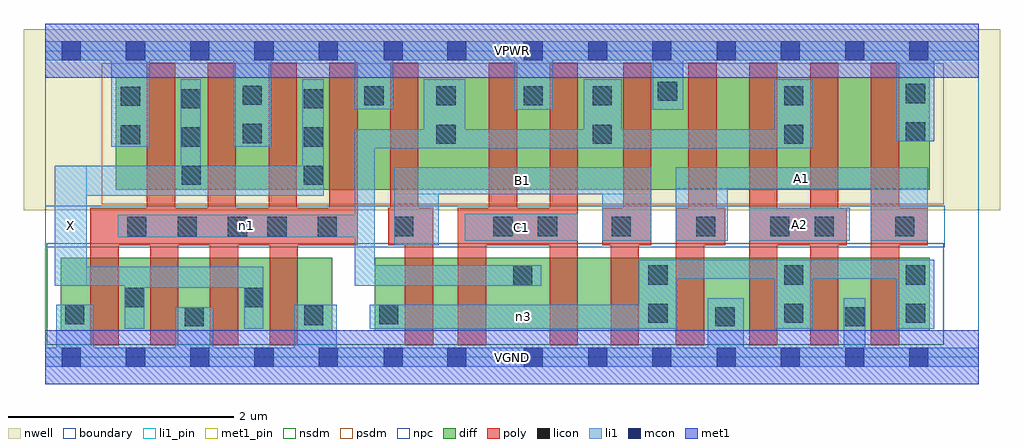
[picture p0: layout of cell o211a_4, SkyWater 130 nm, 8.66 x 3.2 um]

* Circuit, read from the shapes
.subckt o211a_4 A1 A2 B1 C1 VGND VPWR X n1 n3
XM1 X n1 VGND VSUBS sky130_fd_pr__nfet_01v8 w=0.65 l=0.25 m=4
XM2 n2 B1 n3 VSUBS sky130_fd_pr__nfet_01v8 w=0.65 l=0.25
XM3 n1 C1 n2 VSUBS sky130_fd_pr__nfet_01v8 w=0.65 l=0.25
XM4 n4 C1 n1 VSUBS sky130_fd_pr__nfet_01v8 w=0.65 l=0.25
XM5 n3 B1 n4 VSUBS sky130_fd_pr__nfet_01v8 w=0.65 l=0.25
XM6 VGND A1 n3 VSUBS sky130_fd_pr__nfet_01v8 w=0.65 l=0.25 m=2
XM7 n3 A2 VGND VSUBS sky130_fd_pr__nfet_01v8 w=0.65 l=0.25 m=2
XM8 X n1 VPWR n5 sky130_fd_pr__pfet_01v8 w=1 l=0.25 m=4
XM9 n1 B1 VPWR n5 sky130_fd_pr__pfet_01v8 w=1 l=0.25 m=2
XM10 VPWR C1 n1 n5 sky130_fd_pr__pfet_01v8 w=1 l=0.25 m=2
XM11 n6 A1 VPWR n5 sky130_fd_pr__pfet_01v8 w=1 l=0.25
XM12 n1 A2 n6 n5 sky130_fd_pr__pfet_01v8 w=1 l=0.25
XM13 n7 A2 n1 n5 sky130_fd_pr__pfet_01v8 w=1 l=0.25
XM14 VPWR A1 n7 n5 sky130_fd_pr__pfet_01v8 w=1 l=0.25
.ends

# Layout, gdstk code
import gdstk
lib = gdstk.Library(unit=1e-6, precision=1e-09)
def R(c, l, rs):  # rectangles x0, y0, x1, y1
    for r in rs: c.add(gdstk.rectangle(r[:2], r[2:], *l))
def A(c, l, x, y, w, h, nx, ny, dx, dy):  # array of equal rectangles
    R(c, l, [(x+i*dx, y+j*dy, x+i*dx+w, y+j*dy+h) for i in range(nx) for j in range(ny)])
nwell = (64, 20)
diff = (65, 20)
poly = (66, 20)
licon = (66, 44)
li1_pin = (67, 16)
li1 = (67, 20)
mcon = (67, 44)
met1_pin = (68, 16)
met1 = (68, 20)
nsdm = (93, 44)
psdm = (94, 20)
npc = (95, 20)
boundary = (235, 4)

o211a_4 = lib.new_cell('o211a_4')
R(o211a_4, nwell, [(-0.19,1.305,8.47,2.91), (0,1.305,8.28,2.91)])
R(o211a_4, diff, [(0.135,0.235,2.545,0.885), (2.92,0.235,7.845,0.885), (0.625,1.485,7.845,2.485)])
A(o211a_4, poly, 0.4, 0.105, 0.25, 1.22, 4, 1, 0.53, 0)
A(o211a_4, poly, 6.245, 0.105, 0.25, 2.51, 3, 1, 0.54, 0)
A(o211a_4, poly, 0.9, 0.995, 0.25, 1.62, 4, 1, 0.54, 0)
R(o211a_4, poly, [(3.19,0.105,3.44,1.325), (3.66,0.105,3.91,1.325), (4.475,0.105,4.725,2.615), (5.015,0.105,5.265,1.325), (5.595,0.105,5.845,1.325), (0.4,0.995,2.77,1.325), (3.04,0.995,3.44,1.325), (3.06,0.995,3.19,2.615), (3.66,0.995,4.725,1.325), (3.935,0.995,4.185,2.615), (4.94,0.995,5.375,1.325), (5.125,0.995,5.375,2.615), (5.595,0.995,6.03,1.325), (5.705,0.995,5.955,2.615), (6.245,0.995,7.11,1.325), (7.325,0.995,7.83,1.325), (3.06,1.325,3.31,2.615)])
A(o211a_4, licon, 1.21, 1.53, 0.17, 0.17, 1, 3, 0, 0.34)
A(o211a_4, licon, 2.29, 1.53, 0.17, 0.17, 1, 3, 0, 0.34)
R(o211a_4, licon, [(1.235,0.275,1.405,0.445), (5.945,0.275,6.115,0.445), (7.095,0.275,7.265,0.445), (2.295,0.285,2.465,0.455), (0.175,0.295,0.345,0.465), (2.96,0.295,3.13,0.465), (5.35,0.305,5.52,0.475), (6.555,0.305,6.725,0.475), (7.635,0.305,7.805,0.475), (0.705,0.445,0.875,0.615), (1.765,0.445,1.935,0.615), (4.15,0.64,4.32,0.81), (5.35,0.645,5.52,0.815), (6.555,0.645,6.725,0.815), (7.635,0.645,7.805,0.815), (0.725,1.075,0.895,1.245), (1.175,1.075,1.345,1.245), (1.62,1.075,1.79,1.245), (1.97,1.075,2.14,1.245), (2.415,1.075,2.585,1.245), (3.095,1.075,3.265,1.245), (3.975,1.075,4.145,1.245), (4.37,1.075,4.54,1.245), (5.025,1.075,5.195,1.245), (5.775,1.075,5.945,1.245), (6.43,1.075,6.6,1.245), (6.825,1.075,6.995,1.245), (7.54,1.075,7.71,1.245), (0.67,1.89,0.84,2.06), (3.47,1.895,3.64,2.065), (4.855,1.895,5.025,2.065), (6.555,1.895,6.725,2.065), (1.75,1.9,1.92,2.07), (7.635,1.915,7.805,2.085), (0.67,2.23,0.84,2.4), (2.83,2.235,3,2.405), (3.47,2.235,3.64,2.405), (4.245,2.235,4.415,2.405), (4.855,2.235,5.025,2.405), (6.555,2.235,6.725,2.405), (1.75,2.24,1.92,2.41), (7.635,2.255,7.805,2.425), (5.435,2.275,5.605,2.445)])
R(o211a_4, li1_pin, [(0.085,0.635,0.365,1.7), (3.72,1.035,4.725,1.275), (6.245,1.035,7.135,1.325), (3.095,1.445,5.375,1.685), (5.595,1.495,7.83,1.685)])
R(o211a_4, li1, [(0,-0.085,8.28,0.085), (0.095,-0.085,0.43,0.465), (1.15,-0.085,1.49,0.445), (2.21,-0.085,2.585,0.465), (5.875,-0.085,6.195,0.525), (7.085,-0.085,7.275,0.525), (0.705,0.255,0.875,0.805), (1.765,0.255,1.935,0.805), (2.88,0.255,5.605,0.465), (5.265,0.255,5.605,0.865), (6.47,0.255,6.81,0.865), (7.55,0.255,7.885,0.865), (0.705,0.615,1.935,0.805), (0.085,0.635,1.935,0.805), (0.085,0.635,0.365,1.7), (2.745,0.635,4.4,0.815), (2.745,0.635,2.92,2.025), (5.265,0.695,7.885,0.865), (3.095,0.995,3.49,1.685), (3.72,1.035,4.725,1.275), (4.94,1.035,5.375,1.685), (5.595,1.035,6.055,1.685), (6.245,1.035,7.135,1.325), (7.325,1.035,7.83,1.685), (0.64,1.065,2.92,1.265), (0.085,1.435,2.47,1.7), (1.2,1.435,1.38,2.465), (2.28,1.435,2.47,2.465), (3.095,1.445,5.375,1.685), (5.595,1.495,7.83,1.685), (2.745,1.855,6.81,2.025), (3.355,1.855,3.725,2.465), (4.775,1.855,5.115,2.465), (6.47,1.855,6.81,2.465), (0.585,1.87,0.925,2.805), (1.665,1.87,2.005,2.805), (7.55,1.915,7.885,2.805), (4.16,2.195,4.5,2.805), (5.39,2.195,5.66,2.805), (2.745,2.2,3.085,2.805), (0,2.635,8.28,2.805)])
A(o211a_4, mcon, 0.145, -0.085, 0.17, 0.17, 5, 2, 0.57, 2.72)
A(o211a_4, mcon, 4.245, -0.085, 0.17, 0.17, 7, 2, 0.57, 2.72)
R(o211a_4, mcon, [(3,-0.085,3.17,0.085), (3.565,-0.085,3.735,0.085), (3,2.635,3.17,2.805), (3.565,2.635,3.735,2.805)])
R(o211a_4, met1_pin, [(0,-0.24,8.28,0.24), (0,2.48,8.28,2.96)])
R(o211a_4, met1, [(0,-0.24,8.28,0.24), (0,2.48,8.28,2.96)])
R(o211a_4, nsdm, [(0.01,0.11,7.97,1.01)])
R(o211a_4, psdm, [(0.5,1.36,7.97,2.61)])
R(o211a_4, npc, [(0,0.975,7.98,1.345)])
R(o211a_4, boundary, [(0,0,8.28,2.72)])
o211a_4.add(gdstk.Label('A1', (6.712,1.59), layer=67, texttype=5))
o211a_4.add(gdstk.Label('A2', (6.69,1.18), layer=67, texttype=5))
o211a_4.add(gdstk.Label('B1', (4.235,1.565), layer=67, texttype=5))
o211a_4.add(gdstk.Label('C1', (4.222,1.155), layer=67, texttype=5))
o211a_4.add(gdstk.Label('X', (0.225,1.167), layer=67, texttype=5))
o211a_4.add(gdstk.Label('n3', (4.242,0.36), layer=67, texttype=5))
o211a_4.add(gdstk.Label('n1', (1.78,1.165), layer=67, texttype=5))
o211a_4.add(gdstk.Label('VPWR', (4.14,2.72), layer=68, texttype=5))
o211a_4.add(gdstk.Label('VGND', (4.14,0), layer=68, texttype=5))
o211a_4.add(gdstk.Label('A1', (6.712,1.59), layer=67, texttype=16))
o211a_4.add(gdstk.Label('A2', (6.69,1.18), layer=67, texttype=16))
o211a_4.add(gdstk.Label('B1', (4.235,1.565), layer=67, texttype=16))
o211a_4.add(gdstk.Label('C1', (4.222,1.155), layer=67, texttype=16))
o211a_4.add(gdstk.Label('X', (0.225,1.167), layer=67, texttype=16))
o211a_4.add(gdstk.Label('VPWR', (4.14,2.72), layer=68, texttype=16))
o211a_4.add(gdstk.Label('VGND', (4.14,0), layer=68, texttype=16))

lib.write_gds('o211a_4.gds')
